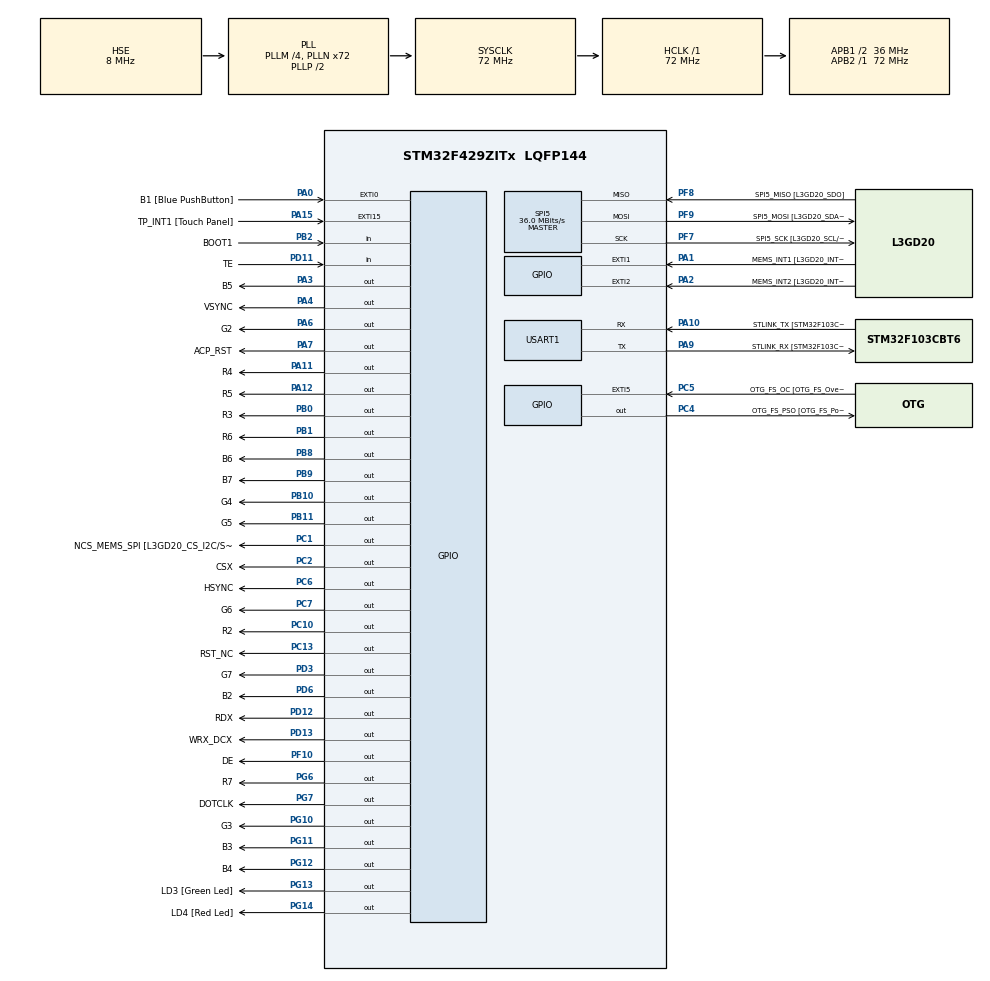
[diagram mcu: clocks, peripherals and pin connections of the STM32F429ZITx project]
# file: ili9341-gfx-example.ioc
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Dma.Request0=SPI5_TX
Dma.SPI5_TX.0.Direction=DMA_MEMORY_TO_PERIPH
Dma.SPI5_TX.0.FIFOMode=DMA_FIFOMODE_DISABLE
Dma.SPI5_TX.0.Instance=DMA2_Stream4
Dma.SPI5_TX.0.MemDataAlignment=DMA_MDATAALIGN_BYTE
Dma.SPI5_TX.0.MemInc=DMA_MINC_ENABLE
Dma.SPI5_TX.0.Mode=DMA_NORMAL
Dma.SPI5_TX.0.PeriphDataAlignment=DMA_PDATAALIGN_BYTE
Dma.SPI5_TX.0.PeriphInc=DMA_PINC_DISABLE
Dma.SPI5_TX.0.Priority=DMA_PRIORITY_LOW
Mcu.Family=STM32F4
Mcu.Name=STM32F429ZITx
Mcu.Package=LQFP144
NVIC.DMA2_Stream4_IRQn=true\:0\:0\:false\:false\:true\:false\:true
NVIC.PriorityGroup=NVIC_PRIORITYGROUP_4
NVIC.TIM6_DAC_IRQn=true\:0\:0\:false\:false\:true\:false\:true
NVIC.TimeBase=TIM6_DAC_IRQn
NVIC.TimeBaseIP=TIM6
PA0/WKUP.GPIO_Label=B1 [Blue PushButton]
PA0/WKUP.GPIO_ModeDefaultEXTI=GPIO_MODE_EVT_RISING
PA0/WKUP.GPIO_PuPd=GPIO_NOPULL
PA0/WKUP.Signal=GPXTI0
PA1.GPIO_Label=MEMS_INT1 [L3GD20_INT1]
PA1.GPIO_ModeDefaultEXTI=GPIO_MODE_EVT_RISING
PA1.GPIO_PuPd=GPIO_NOPULL
PA1.Signal=GPXTI1
PA10.GPIO_Label=STLINK_TX [STM32F103CBT6_PA2]
PA10.Mode=Asynchronous
PA10.Signal=USART1_RX
PA11.GPIO_Label=R4
PA11.GPIO_PuPd=GPIO_PULLDOWN
PA11.Signal=GPIO_Output
PA12.GPIO_Label=R5
PA12.GPIO_PuPd=GPIO_PULLDOWN
PA12.Signal=GPIO_Output
PA13.GPIO_Label=SWDIO
PA13.Mode=Serial_Wire
PA13.Signal=SYS_JTMS-SWDIO
PA14.GPIO_Label=SWCLK
PA14.Mode=Serial_Wire
PA14.Signal=SYS_JTCK-SWCLK
PA15.GPIO_Label=TP_INT1 [Touch Panel]
PA15.GPIO_ModeDefaultEXTI=GPIO_MODE_EVT_RISING
PA15.GPIO_PuPd=GPIO_NOPULL
PA15.Signal=GPXTI15
PA2.GPIO_Label=MEMS_INT2 [L3GD20_INT2]
PA2.GPIO_ModeDefaultEXTI=GPIO_MODE_EVT_RISING
PA2.GPIO_PuPd=GPIO_NOPULL
PA2.Signal=GPXTI2
PA3.GPIO_Label=B5
PA3.GPIO_PuPd=GPIO_PULLDOWN
PA3.Signal=GPIO_Output
PA4.GPIO_Label=VSYNC
PA4.GPIO_PuPd=GPIO_PULLDOWN
PA4.Signal=GPIO_Output
PA6.GPIO_Label=G2
PA6.GPIO_PuPd=GPIO_PULLDOWN
PA6.Signal=GPIO_Output
PA7.GPIO_Label=ACP_RST
PA7.GPIO_Mode=GPIO_MODE_OUTPUT_PP
PA7.GPIO_PuPd=GPIO_NOPULL
PA7.GPIO_Speed=GPIO_SPEED_FREQ_LOW
PA7.Signal=GPIO_Output
PA9.GPIO_Label=STLINK_RX [STM32F103CBT6_PA3]
PA9.Mode=Asynchronous
PA9.Signal=USART1_TX
PB0.GPIO_Label=R3
PB0.GPIO_PuPd=GPIO_PULLDOWN
PB0.Signal=GPIO_Output
PB1.GPIO_Label=R6
PB1.GPIO_PuPd=GPIO_PULLDOWN
PB1.Signal=GPIO_Output
PB10.GPIO_Label=G4
PB10.GPIO_PuPd=GPIO_PULLDOWN
PB10.Signal=GPIO_Output
PB11.GPIO_Label=G5
PB11.GPIO_PuPd=GPIO_PULLDOWN
PB11.Signal=GPIO_Output
PB12.GPIO_Label=OTG_HS_ID
PB12.GPIO_Mode=GPIO_MODE_AF_PP
PB12.GPIO_PuPd=GPIO_NOPULL
PB12.GPIO_Speed=GPIO_SPEED_FREQ_LOW
PB12.Signal=USB_OTG_HS_ID
PB13.GPIO_Label=VBUS_HS
PB13.GPIO_Mode=GPIO_MODE_INPUT
PB13.GPIO_PuPd=GPIO_NOPULL
PB13.Signal=USB_OTG_HS_VBUS
PB14.GPIO_Label=OTG_HS_DM
PB14.GPIO_Mode=GPIO_MODE_AF_PP
PB14.GPIO_PuPd=GPIO_NOPULL
PB14.GPIO_Speed=GPIO_SPEED_FREQ_LOW
PB14.Signal=USB_OTG_HS_DM
PB15.GPIO_Label=OTG_HS_DP
PB15.GPIO_Mode=GPIO_MODE_AF_PP
PB15.GPIO_PuPd=GPIO_NOPULL
PB15.GPIO_Speed=GPIO_SPEED_FREQ_LOW
PB15.Signal=USB_OTG_HS_DP
PB2/BOOT1.GPIO_Label=BOOT1
PB2/BOOT1.GPIO_Mode=GPIO_MODE_INPUT
PB2/BOOT1.GPIO_PuPd=GPIO_NOPULL
PB2/BOOT1.Signal=GPIO_Input
PB8.GPIO_Label=B6
PB8.GPIO_PuPd=GPIO_PULLDOWN
PB8.Signal=GPIO_Output
PB9.GPIO_Label=B7
PB9.GPIO_PuPd=GPIO_PULLDOWN
PB9.Signal=GPIO_Output
PC0.GPIO_Label=SDNWE
PC0.GPIO_Mode=GPIO_MODE_AF_PP
PC0.GPIO_PuPd=GPIO_NOPULL
PC0.GPIO_Speed=GPIO_SPEED_FREQ_VERY_HIGH
PC0.Signal=FMC_SDNWE
PC1.GPIO_Label=NCS_MEMS_SPI [L3GD20_CS_I2C/SPI]
PC1.GPIO_Mode=GPIO_MODE_OUTPUT_PP
PC1.GPIO_PuPd=GPIO_NOPULL
PC1.GPIO_Speed=GPIO_SPEED_FREQ_LOW
PC1.Signal=GPIO_Output
PC10.GPIO_Label=R2
PC10.GPIO_PuPd=GPIO_PULLDOWN
PC10.Signal=GPIO_Output
PC13.GPIO_Label=RST_NC
PC13.GPIO_Speed=GPIO_SPEED_FREQ_LOW
PC13.Signal=GPIO_Output
PC14/OSC32_IN.GPIO_Label=PC14-OSC32_IN
PC14/OSC32_IN.Signal=RCC_OSC32_IN
PC15/OSC32_OUT.GPIO_Label=PC15-OSC32_OUT
PC15/OSC32_OUT.Signal=RCC_OSC32_OUT
PC2.GPIO_Label=CSX
PC2.GPIO_Mode=GPIO_MODE_OUTPUT_PP
PC2.GPIO_PuPd=GPIO_NOPULL
PC2.GPIO_Speed=GPIO_SPEED_FREQ_HIGH
PC2.Signal=GPIO_Output
PC4.GPIO_Label=OTG_FS_PSO [OTG_FS_PowerSwitchOn]
PC4.GPIO_Mode=GPIO_MODE_OUTPUT_PP
PC4.GPIO_PuPd=GPIO_NOPULL
PC4.GPIO_Speed=GPIO_SPEED_FREQ_LOW
PC4.Signal=GPIO_Output
PC5.GPIO_Label=OTG_FS_OC [OTG_FS_OverCurrent]
PC5.GPIO_ModeDefaultEXTI=GPIO_MODE_EVT_RISING
PC5.Signal=GPXTI5
PC6.GPIO_Label=HSYNC
PC6.GPIO_PuPd=GPIO_PULLDOWN
PC6.Signal=GPIO_Output
PC7.GPIO_Label=G6
PC7.GPIO_PuPd=GPIO_PULLDOWN
PC7.Signal=GPIO_Output
PD10.GPIO_Label=D15
PD10.GPIO_Mode=GPIO_MODE_AF_PP
PD10.GPIO_PuPd=GPIO_NOPULL
PD10.GPIO_Speed=GPIO_SPEED_FREQ_VERY_HIGH
PD10.Signal=FMC_D15_DA15
PD11.GPIO_Label=TE
PD11.Signal=GPIO_Input
PD12.GPIO_Label=RDX
PD12.GPIO_PuPd=GPIO_PULLUP
PD12.PinState=GPIO_PIN_SET
PD12.Signal=GPIO_Output
PD13.GPIO_Label=WRX_DCX
PD13.GPIO_Mode=GPIO_MODE_OUTPUT_PP
PD13.GPIO_PuPd=GPIO_NOPULL
PD13.GPIO_Speed=GPIO_SPEED_FREQ_HIGH
PD13.Signal=GPIO_Output
PD3.GPIO_Label=G7
PD3.GPIO_PuPd=GPIO_PULLDOWN
PD3.Signal=GPIO_Output
PD6.GPIO_Label=B2
PD6.GPIO_PuPd=GPIO_PULLDOWN
PD6.Signal=GPIO_Output
PD8.GPIO_Label=D13
PD8.GPIO_Mode=GPIO_MODE_AF_PP
PD8.GPIO_PuPd=GPIO_NOPULL
PD8.GPIO_Speed=GPIO_SPEED_FREQ_VERY_HIGH
PD8.Signal=FMC_D13_DA13
PD9.GPIO_Label=D14
PD9.GPIO_Mode=GPIO_MODE_AF_PP
PD9.GPIO_PuPd=GPIO_NOPULL
PD9.GPIO_Speed=GPIO_SPEED_FREQ_VERY_HIGH
PD9.Signal=FMC_D14_DA14
PE10.GPIO_Label=D7
PE10.GPIO_Mode=GPIO_MODE_AF_PP
PE10.GPIO_PuPd=GPIO_NOPULL
PE10.GPIO_Speed=GPIO_SPEED_FREQ_VERY_HIGH
PE10.Signal=FMC_D7_DA7
PE11.GPIO_Label=D8
PE11.GPIO_Mode=GPIO_MODE_AF_PP
PE11.GPIO_PuPd=GPIO_NOPULL
PE11.GPIO_Speed=GPIO_SPEED_FREQ_VERY_HIGH
PE11.Signal=FMC_D8_DA8
PE12.GPIO_Label=D9
PE12.GPIO_Mode=GPIO_MODE_AF_PP
PE12.GPIO_PuPd=GPIO_NOPULL
PE12.GPIO_Speed=GPIO_SPEED_FREQ_VERY_HIGH
PE12.Signal=FMC_D9_DA9
PE13.GPIO_Label=D10
PE13.GPIO_Mode=GPIO_MODE_AF_PP
PE13.GPIO_PuPd=GPIO_NOPULL
PE13.GPIO_Speed=GPIO_SPEED_FREQ_VERY_HIGH
PE13.Signal=FMC_D10_DA10
PE14.GPIO_Label=D11
PE14.GPIO_Mode=GPIO_MODE_AF_PP
PE14.GPIO_PuPd=GPIO_NOPULL
PE14.GPIO_Speed=GPIO_SPEED_FREQ_VERY_HIGH
PE14.Signal=FMC_D11_DA11
PE15.GPIO_Label=D12
PE15.GPIO_Mode=GPIO_MODE_AF_PP
PE15.GPIO_PuPd=GPIO_NOPULL
PE15.GPIO_Speed=GPIO_SPEED_FREQ_VERY_HIGH
PE15.Signal=FMC_D12_DA12
PE7.GPIO_Label=D4
PE7.GPIO_Mode=GPIO_MODE_AF_PP
PE7.GPIO_PuPd=GPIO_NOPULL
PE7.GPIO_Speed=GPIO_SPEED_FREQ_VERY_HIGH
PE7.Signal=FMC_D4_DA4
PE8.GPIO_Label=D5
PE8.GPIO_Mode=GPIO_MODE_AF_PP
PE8.GPIO_PuPd=GPIO_NOPULL
PE8.GPIO_Speed=GPIO_SPEED_FREQ_VERY_HIGH
PE8.Signal=FMC_D5_DA5
PE9.GPIO_Label=D6
PE9.GPIO_Mode=GPIO_MODE_AF_PP
PE9.GPIO_PuPd=GPIO_NOPULL
PE9.GPIO_Speed=GPIO_SPEED_FREQ_VERY_HIGH
PE9.Signal=FMC_D6_DA6
PF10.GPIO_Label=DE
PF10.GPIO_PuPd=GPIO_PULLDOWN
PF10.Signal=GPIO_Output
PF11.GPIO_Label=SDNRAS
PF11.GPIO_Mode=GPIO_MODE_AF_PP
PF11.GPIO_PuPd=GPIO_NOPULL
PF11.GPIO_Speed=GPIO_SPEED_FREQ_VERY_HIGH
PF11.Signal=FMC_SDNRAS
PF12.GPIO_Label=A6
PF12.GPIO_Mode=GPIO_MODE_AF_PP
PF12.GPIO_PuPd=GPIO_NOPULL
PF12.GPIO_Speed=GPIO_SPEED_FREQ_VERY_HIGH
PF12.Signal=FMC_A6
PF13.GPIO_Label=A7
PF13.GPIO_Mode=GPIO_MODE_AF_PP
PF13.GPIO_PuPd=GPIO_NOPULL
PF13.GPIO_Speed=GPIO_SPEED_FREQ_VERY_HIGH
PF13.Signal=FMC_A7
PF14.GPIO_Label=A8
PF14.GPIO_Mode=GPIO_MODE_AF_PP
PF14.GPIO_PuPd=GPIO_NOPULL
PF14.GPIO_Speed=GPIO_SPEED_FREQ_VERY_HIGH
PF14.Signal=FMC_A8
PF15.GPIO_Label=A9
PF15.GPIO_Mode=GPIO_MODE_AF_PP
PF15.GPIO_PuPd=GPIO_NOPULL
PF15.GPIO_Speed=GPIO_SPEED_FREQ_VERY_HIGH
PF15.Signal=FMC_A9
PF7.GPIO_Label=SPI5_SCK [L3GD20_SCL/SPC]
PF7.GPIO_Mode=GPIO_MODE_AF_PP
PF7.GPIO_PuPd=GPIO_NOPULL
PF7.GPIO_Speed=GPIO_SPEED_FREQ_VERY_HIGH
PF7.Mode=Full_Duplex_Master
PF7.Signal=SPI5_SCK
PF8.GPIO_Label=SPI5_MISO [L3GD20_SDO]
PF8.GPIO_Mode=GPIO_MODE_AF_PP
PF8.GPIO_PuPd=GPIO_NOPULL
PF8.GPIO_Speed=GPIO_SPEED_FREQ_VERY_HIGH
PF8.Mode=Full_Duplex_Master
PF8.Signal=SPI5_MISO
PF9.GPIO_Label=SPI5_MOSI [L3GD20_SDA/SDI/SDO]
PF9.GPIO_Mode=GPIO_MODE_AF_PP
PF9.GPIO_PuPd=GPIO_NOPULL
PF9.GPIO_Speed=GPIO_SPEED_FREQ_VERY_HIGH
PF9.Mode=Full_Duplex_Master
PF9.Signal=SPI5_MOSI
PG0.GPIO_Label=A10
PG0.GPIO_Mode=GPIO_MODE_AF_PP
PG0.GPIO_PuPd=GPIO_NOPULL
PG0.GPIO_Speed=GPIO_SPEED_FREQ_VERY_HIGH
PG0.Signal=FMC_A10
PG1.GPIO_Label=A11
PG1.GPIO_Mode=GPIO_MODE_AF_PP
PG1.GPIO_PuPd=GPIO_NOPULL
PG1.GPIO_Speed=GPIO_SPEED_FREQ_VERY_HIGH
PG1.Signal=FMC_A11
PG10.GPIO_Label=G3
PG10.GPIO_PuPd=GPIO_PULLDOWN
PG10.Signal=GPIO_Output
PG11.GPIO_Label=B3
PG11.GPIO_PuPd=GPIO_PULLDOWN
PG11.Signal=GPIO_Output
PG12.GPIO_Label=B4
PG12.GPIO_PuPd=GPIO_PULLDOWN
PG12.Signal=GPIO_Output
PG13.GPIO_Label=LD3 [Green Led]
PG13.GPIO_Mode=GPIO_MODE_OUTPUT_PP
PG13.GPIO_PuPd=GPIO_NOPULL
PG13.GPIO_Speed=GPIO_SPEED_FREQ_LOW
PG13.Signal=GPIO_Output
PG14.GPIO_Label=LD4 [Red Led]
PG14.GPIO_Mode=GPIO_MODE_OUTPUT_PP
PG14.GPIO_PuPd=GPIO_NOPULL
PG14.GPIO_Speed=GPIO_SPEED_FREQ_LOW
PG14.Signal=GPIO_Output
PG6.GPIO_Label=R7
PG6.GPIO_PuPd=GPIO_PULLDOWN
PG6.Signal=GPIO_Output
PG7.GPIO_Label=DOTCLK
PG7.GPIO_PuPd=GPIO_PULLDOWN
PG7.Signal=GPIO_Output
PH0/OSC_IN.GPIO_Label=PH0-OSC_IN
PH0/OSC_IN.Mode=HSE-External-Oscillator
PH0/OSC_IN.Signal=RCC_OSC_IN
PH1/OSC_OUT.GPIO_Label=PH1-OSC_OUT
PH1/OSC_OUT.Mode=HSE-External-Oscillator
PH1/OSC_OUT.Signal=RCC_OSC_OUT
ProjectManager.HeapSize=0x200
ProjectManager.StackSize=0x400
ProjectManager.TargetToolchain=STM32CubeIDE
RCC.48MHZClocksFreq_Value=48000000
RCC.AHBFreq_Value=72000000
RCC.APB1CLKDivider=RCC_HCLK_DIV2
RCC.APB1Freq_Value=36000000
RCC.APB1TimFreq_Value=72000000
RCC.APB2Freq_Value=72000000
RCC.APB2TimFreq_Value=72000000
RCC.CortexFreq_Value=72000000
RCC.HCLKFreq_Value=72000000
RCC.HSE_VALUE=8000000
RCC.HSI_VALUE=16000000
RCC.LSE_VALUE=32768
RCC.PLLM=4
RCC.PLLN=72
RCC.PLLQ=3
RCC.PLLSAIN=50
RCC.PLLSourceVirtual=RCC_PLLSOURCE_HSE
RCC.SYSCLKFreq_VALUE=72000000
RCC.SYSCLKSource=RCC_SYSCLKSOURCE_PLLCLK
RCC.VCOOutputFreq_Value=144000000
SH.FMC_A10.0=FMC_A10
SH.FMC_A11.0=FMC_A11
SH.FMC_A6.0=FMC_A6
SH.FMC_A7.0=FMC_A7
SH.FMC_A8.0=FMC_A8
SH.FMC_A9.0=FMC_A9
SH.FMC_D10_DA10.0=FMC_D10
SH.FMC_D11_DA11.0=FMC_D11
SH.FMC_D12_DA12.0=FMC_D12
SH.FMC_D13_DA13.0=FMC_D13
SH.FMC_D14_DA14.0=FMC_D14
SH.FMC_D15_DA15.0=FMC_D15
SH.FMC_D4_DA4.0=FMC_D4
SH.FMC_D5_DA5.0=FMC_D5
SH.FMC_D6_DA6.0=FMC_D6
SH.FMC_D7_DA7.0=FMC_D7
SH.FMC_D8_DA8.0=FMC_D8
SH.FMC_D9_DA9.0=FMC_D9
SH.FMC_SDNRAS.0=FMC_SDNRAS
SH.FMC_SDNWE.0=FMC_SDNWE
SPI5.CalculateBaudRate=36.0 MBits/s
SPI5.Direction=SPI_DIRECTION_2LINES
SPI5.Mode=SPI_MODE_MASTER
SPI5.VirtualType=VM_MASTER
USART1.VirtualMode=VM_ASYNC
VP_CRC_VS_CRC.Mode=CRC_Activate
VP_SYS_VS_tim6.Mode=TIM6
VP_TIM1_VS_ClockSourceINT.Mode=Internal
board=STM32F429I-DISC1

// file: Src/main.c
/* USER CODE BEGIN Header */
/**
  ******************************************************************************
  * @file           : main.c
  * @brief          : Main program body
  ******************************************************************************
  * @attention
  *
  * <h2><center>&copy; Copyright (c) 2020 STMicroelectronics.
  * All rights reserved.</center></h2>
  *
  * This software component is licensed by ST under BSD 3-Clause license,
  * the "License"; You may not use this file except in compliance with the
  * License. You may obtain a copy of the License at:
  *                        opensource.org/licenses/BSD-3-Clause
  *
  ******************************************************************************
  */
/* USER CODE END Header */

#include "main.h"
#include "crc.h"
#include "dma.h"
#include "spi.h"
#include "tim.h"
#include "usart.h"
#include "gpio.h"

/* USER CODE BEGIN Includes */
#include "ili_drv.h"
#include "ili9341-gfx.h"
#include "stars_mono.h"
#include "chess_mono.h"
#include "font_Arial_12_Bold.h"
#include "font_Arial_24_Bold.h"
#include "font_Arial_36_Bold.h"

/* USER CODE END Includes */

void SystemClock_Config(void);
/* USER CODE BEGIN PFP */

/* Wrapper functions required by ILI9341 driver */
void gpio_cs_pin (ili9341_gpio_pin_value_t value);
void gpio_dc_pin (ili9341_gpio_pin_value_t value);
void gpio_rst_pin (ili9341_gpio_pin_value_t value);
bool spi_tx_dma_ready (void);
int spi_tx_dma_b (const uint8_t* data, uint32_t len);

void test_h_line(const ili9341_desc_ptr_t desc, ili_sgfx_brush_t brush, ili9341_orientation_t orientation);
void draw_h_stripes(const ili9341_desc_ptr_t desc, ili_sgfx_brush_t brush, uint8_t cnt);
void test_v_line(const ili9341_desc_ptr_t desc, ili_sgfx_brush_t brush, ili9341_orientation_t orientation);
void draw_v_stripes(const ili9341_desc_ptr_t desc, ili_sgfx_brush_t brush, uint8_t cnt);
void test_rect(const ili9341_desc_ptr_t desc, ili_sgfx_brush_t brush, ili9341_orientation_t orientation);
void test_filled_rect(const ili9341_desc_ptr_t desc, ili_sgfx_brush_t brush, ili9341_orientation_t orientation);
void test_pixel(const ili9341_desc_ptr_t desc, ili_sgfx_brush_t brush, ili9341_orientation_t orientation);
void test_line(const ili9341_desc_ptr_t desc, ili_sgfx_brush_t brush, uint16_t num_lines, ili9341_orientation_t orientation);
void test_pixmap(const ili9341_desc_ptr_t desc, ili_sgfx_brush_t brush, ili9341_orientation_t orientation);
void test_printf(const ili9341_desc_ptr_t desc, ili_sgfx_brush_t brush, ili9341_orientation_t orientation);
void test_printf_region(const ili9341_desc_ptr_t desc, ili_sgfx_brush_t brush, ili9341_orientation_t orientation);

/* USER CODE END PFP */

int main(void)
{
  /* USER CODE BEGIN 1 */
	  ili9341_desc_ptr_t display;
	  const ili9341_cfg_t display_cfg = {
			  .cs_pin = gpio_cs_pin,
			  .dc_pin = gpio_dc_pin,
			  .rst_pin = gpio_rst_pin,
			  .spi_tx_dma = spi_tx_dma_b,
			  .spi_tx_ready = spi_tx_dma_ready,
			  .orientation = ILI9341_ORIENTATION_HORIZONTAL,
			  .width = 320,
			  .height = 240,
			  .timeout_ms = 10000,
			  .wup_delay_ms = 20,
			  .restart_delay_ms = 20
	  };

	  const ili9341_hw_cfg_t hw_cfg = ili9341_get_default_hw_cfg();
  /* USER CODE END 1 */

  /* MCU Configuration--------------------------------------------------------*/

  /* Reset of all peripherals, Initializes the Flash interface and the Systick. */
  HAL_Init();

  /* Configure the system clock */
  SystemClock_Config();

  /* Initialize all configured peripherals */
  MX_GPIO_Init();
  MX_DMA_Init();
  MX_CRC_Init();
  MX_SPI5_Init();
  MX_TIM1_Init();
  MX_USART1_UART_Init();
  /* USER CODE BEGIN 2 */
  display = ili9341_init(&display_cfg, &hw_cfg);
  if (display == NULL) {
	Error_Handler();
  }

  /* USER CODE END 2 */

  /* Infinite loop */
  /* USER CODE BEGIN WHILE */
  while (1)
  {
	  ili_sgfx_brush_t brush = {
		.bg_color = BLACK,
		.fg_color = GREEN,
		.size = 1
	  };

	  test_h_line(display, brush, ILI9341_ORIENTATION_HORIZONTAL_UD);
	  test_h_line(display, brush, ILI9341_ORIENTATION_VERTICAL);

	  test_v_line(display, brush, ILI9341_ORIENTATION_HORIZONTAL_UD);
	  test_v_line(display, brush, ILI9341_ORIENTATION_VERTICAL);

	  test_rect(display, brush, ILI9341_ORIENTATION_HORIZONTAL_UD);
	  test_rect(display, brush, ILI9341_ORIENTATION_VERTICAL);
	  test_filled_rect(display, brush, ILI9341_ORIENTATION_HORIZONTAL_UD);
	  test_filled_rect(display, brush, ILI9341_ORIENTATION_VERTICAL);

	  test_pixel(display, brush, ILI9341_ORIENTATION_HORIZONTAL_UD);

	  test_line(display, brush, 40, ILI9341_ORIENTATION_HORIZONTAL_UD);

	  brush.transparent = false;
	  test_pixmap(display, brush, ILI9341_ORIENTATION_HORIZONTAL_UD);
	  brush.transparent = true;
	  test_pixmap(display, brush, ILI9341_ORIENTATION_HORIZONTAL_UD);
	  brush.transparent = false;

	  ili_sgfx_clear_screen(display, &brush);
	  brush.font = &font_Arial_12_Bold;
	  brush.transparent = false;
	  test_printf(display, brush, ILI9341_ORIENTATION_HORIZONTAL_UD);
	  HAL_Delay(2000);
	  ili_sgfx_clear_screen(display, &brush);
	  brush.font = &font_Arial_24_Bold;
	  brush.transparent = false;
	  test_printf(display, brush, ILI9341_ORIENTATION_HORIZONTAL_UD);
	  HAL_Delay(2000);
	  ili_sgfx_clear_screen(display, &brush);
	  brush.font = &font_Arial_36_Bold;
	  brush.transparent = false;
	  test_printf(display, brush, ILI9341_ORIENTATION_HORIZONTAL_UD);
	  HAL_Delay(2000);

	  ili_sgfx_clear_screen(display, &brush);
	  brush.font = &font_Arial_12_Bold;
	  brush.transparent = false;
	  test_printf_region(display, brush, ILI9341_ORIENTATION_HORIZONTAL_UD);
	  HAL_Delay(2000);
	  ili_sgfx_clear_screen(display, &brush);
	  brush.font = &font_Arial_24_Bold;
	  brush.transparent = false;
	  test_printf_region(display, brush, ILI9341_ORIENTATION_HORIZONTAL_UD);
	  HAL_Delay(2000);
	  ili_sgfx_clear_screen(display, &brush);
	  brush.font = &font_Arial_36_Bold;
	  brush.transparent = false;
	  test_printf_region(display, brush, ILI9341_ORIENTATION_HORIZONTAL_UD);
	  HAL_Delay(2000);

	  /* USER CODE END WHILE */

  }
}

void SystemClock_Config(void)
{
  RCC_OscInitTypeDef RCC_OscInitStruct = {0};
  RCC_ClkInitTypeDef RCC_ClkInitStruct = {0};

  /** Configure the main internal regulator output voltage
  */
  __HAL_RCC_PWR_CLK_ENABLE();
  __HAL_PWR_VOLTAGESCALING_CONFIG(PWR_REGULATOR_VOLTAGE_SCALE3);
  /** Initializes the CPU, AHB and APB busses clocks
  */
  RCC_OscInitStruct.OscillatorType = RCC_OSCILLATORTYPE_HSE;
  RCC_OscInitStruct.HSEState = RCC_HSE_ON;
  RCC_OscInitStruct.PLL.PLLState = RCC_PLL_ON;
  RCC_OscInitStruct.PLL.PLLSource = RCC_PLLSOURCE_HSE;
  RCC_OscInitStruct.PLL.PLLM = 4;
  RCC_OscInitStruct.PLL.PLLN = 72;
  RCC_OscInitStruct.PLL.PLLP = RCC_PLLP_DIV2;
  RCC_OscInitStruct.PLL.PLLQ = 3;
  if (HAL_RCC_OscConfig(&RCC_OscInitStruct) != HAL_OK)
  {
    Error_Handler();
  }
  /** Initializes the CPU, AHB and APB busses clocks
  */
  RCC_ClkInitStruct.ClockType = RCC_CLOCKTYPE_HCLK|RCC_CLOCKTYPE_SYSCLK
                              |RCC_CLOCKTYPE_PCLK1|RCC_CLOCKTYPE_PCLK2;
  RCC_ClkInitStruct.SYSCLKSource = RCC_SYSCLKSOURCE_PLLCLK;
  RCC_ClkInitStruct.AHBCLKDivider = RCC_SYSCLK_DIV1;
  RCC_ClkInitStruct.APB1CLKDivider = RCC_HCLK_DIV2;
  RCC_ClkInitStruct.APB2CLKDivider = RCC_HCLK_DIV1;

  if (HAL_RCC_ClockConfig(&RCC_ClkInitStruct, FLASH_LATENCY_2) != HAL_OK)
  {
    Error_Handler();
  }
}

/* USER CODE BEGIN 4 */
void gpio_cs_pin (ili9341_gpio_pin_value_t value)
{
	HAL_GPIO_WritePin(CSX_GPIO_Port, CSX_Pin, value);
}

void gpio_dc_pin (ili9341_gpio_pin_value_t value)
{
	HAL_GPIO_WritePin(WRX_DCX_GPIO_Port, WRX_DCX_Pin, value);

}

void gpio_rst_pin (ili9341_gpio_pin_value_t value)
{
	HAL_GPIO_WritePin(RST_NC_GPIO_Port, RST_NC_Pin, value);
}

bool spi_tx_dma_ready (void)
{
	return HAL_SPI_GetState(&hspi5) == HAL_SPI_STATE_READY;
}

int spi_tx_dma_b (const uint8_t* data, uint32_t len)
{
	/* STM HAL lhas limited data length to 16b */
	int segments = len/65536;
	int rest = len%65536;
	int i;

	for (i = 0; i < segments; i++) {
		HAL_SPI_Transmit_DMA(&hspi5, (unsigned char*)(data+i*65535), 65535);
		while(HAL_SPI_GetState(&hspi5) == HAL_SPI_STATE_BUSY_TX) ;
	}

	HAL_SPI_Transmit_DMA(&hspi5, (unsigned char*)(data+i*65535), rest);

	return 0;
}

void test_h_line(const ili9341_desc_ptr_t desc, ili_sgfx_brush_t brush, ili9341_orientation_t orientation) {
	const uint8_t NUM_CLRS = 3;
	uint16_t colors[] = {RED, GREEN, BLUE};

	ili9341_set_orientation(desc, orientation);
	for (int i = 0; i < NUM_CLRS; i++) {
		brush.fg_color = colors[i];
		ili_sgfx_clear_screen(desc, &brush);
		draw_h_stripes(desc, brush, 18);
		HAL_Delay(2000);
	}
}

void draw_h_stripes(const ili9341_desc_ptr_t desc, ili_sgfx_brush_t brush, uint8_t cnt) {
	coord_2d_t pos = {
		.x = 1,
		.y = 1
	};
	int16_t length = ili9341_get_screen_width(desc);
	for (int i = 0; i < cnt; i++) {
		ili_sgfx_draw_h_line(desc, &brush, pos, length);
		brush.size++;
		pos.y += brush.size*2 + 1;
	}
}

void test_v_line(const ili9341_desc_ptr_t desc, ili_sgfx_brush_t brush, ili9341_orientation_t orientation) {
	const uint8_t NUM_CLRS = 3;
	uint16_t colors[] = {RED, GREEN, BLUE};

	ili9341_set_orientation(desc, orientation);
	for (int i = 0; i < NUM_CLRS; i++) {
		brush.fg_color = colors[i];
		ili_sgfx_clear_screen(desc, &brush);
		draw_v_stripes(desc, brush, 18);
		HAL_Delay(2000);
	}
}

void draw_v_stripes(const ili9341_desc_ptr_t desc, ili_sgfx_brush_t brush, uint8_t cnt) {
	coord_2d_t pos = {
		.x = 1,
		.y = 1
	};
	int16_t length = ili9341_get_screen_height(desc);
	for (int i = 0; i < cnt; i++) {
		ili_sgfx_draw_v_line(desc, &brush, pos, length);
		brush.size++;
		pos.x += brush.size*2 + 1;
	}
}

void test_rect(const ili9341_desc_ptr_t desc, ili_sgfx_brush_t brush, ili9341_orientation_t orientation) {
	ili9341_set_orientation(desc, orientation);
	ili_sgfx_clear_screen(desc, &brush);
	ili_sgfx_rect_t rect = {
			.top_left = {
					.x = ili9341_get_screen_width(desc)/2 - 10,
					.y = ili9341_get_screen_height(desc)/2 - 10
			},
			.bottom_right = {
					.x = ili9341_get_screen_width(desc)/2 + 10,
					.y = ili9341_get_screen_height(desc)/2 + 10
			}
	};

	for (int i = 0; i < 9; i++) {
		ili_sgfx_draw_rect(desc, &brush, rect);
		brush.size++;
		rect.top_left.x -= brush.size*2 + 1;
		rect.top_left.y -= brush.size*2 + 1;
		rect.bottom_right.x += brush.size*2 + 1;
		rect.bottom_right.y += brush.size*2 + 1;
		HAL_Delay(500);
	}
}

void test_filled_rect(const ili9341_desc_ptr_t desc, ili_sgfx_brush_t brush, ili9341_orientation_t orientation) {
	ili9341_set_orientation(desc, orientation);
	ili_sgfx_clear_screen(desc, &brush);
	ili_sgfx_rect_t rect = {
				.top_left = {
						.x = ili9341_get_screen_width(desc)/2 - 10,
						.y = ili9341_get_screen_height(desc)/2 - 10
				},
				.bottom_right = {
						.x = ili9341_get_screen_width(desc)/2 + 10,
						.y = ili9341_get_screen_height(desc)/2 + 10
				}
	};
	brush.bg_color = BLUE;
	brush.fg_color = RED;

	for (int i = 0; i < 9; i++) {
		ili_sgfx_draw_filled_rect(desc, &brush, rect);
		brush.size++;
		rect.top_left.x -= brush.size*2 + 1;
		rect.top_left.y -= brush.size*2 + 1;
		rect.bottom_right.x += brush.size*2 + 1;
		rect.bottom_right.y += brush.size*2 + 1;
		HAL_Delay(1000);
	}
}

void test_pixel(const ili9341_desc_ptr_t desc, ili_sgfx_brush_t brush, ili9341_orientation_t orientation) {
	ili9341_set_orientation(desc, orientation);
	ili_sgfx_clear_screen(desc, &brush);

	coord_2d_t start = {
			.x = 1,
			.y = 1
	};
	coord_2d_t end = {
			.x = ili9341_get_screen_width(desc),
			.y = ili9341_get_screen_height(desc)
	};
	coord_2d_t coord = start;

	uint16_t dx = end.x - start.x;
	uint16_t dy = end.y - start.y;
	for (coord.x = start.x; coord.x < end.x; coord.x++) {
		coord.y = start.y + dy*(coord.x - start.x) / dx;
		ili_sgfx_draw_pixel(desc, &brush, coord);
	}
	HAL_Delay(2000);
}

void test_line(const ili9341_desc_ptr_t desc, ili_sgfx_brush_t brush, uint16_t num_lines, ili9341_orientation_t orientation) {
	ili9341_set_orientation(desc, orientation);
	ili_sgfx_clear_screen(desc, &brush);

	coord_2d_t start = {
			.x = 1,
			.y = 1
	};
	coord_2d_t end = {
				.x = ili9341_get_screen_width(desc),
				.y = 1
		};
	uint8_t x_step = ili9341_get_screen_width(desc)/num_lines;
	uint8_t y_step = ili9341_get_screen_height(desc)/num_lines;

	for (int i = 0; i < num_lines; i++) {
		ili_sgfx_draw_line(desc, &brush, start, end);
		end.x -= x_step;
		end.y += y_step;
	}

	brush.fg_color = BLUE;
	start.x = ili9341_get_screen_width(desc);
	start.y = ili9341_get_screen_height(desc);
	end.x = 1;
	end.y = ili9341_get_screen_height(desc);
	for (int i = 0; i < num_lines; i++) {
		ili_sgfx_draw_line(desc, &brush, start, end);
		end.x += x_step;
		end.y -= y_step;
	}

}

void test_pixmap(const ili9341_desc_ptr_t desc, ili_sgfx_brush_t brush, ili9341_orientation_t orientation) {
	ili9341_set_orientation(desc, orientation);

	ili_sgfx_brush_t base_bg = {
			.bg_color = BLUE,
			.fg_color = WHITE,
			.size = 1
	};

	ili_sgfx_clear_screen(desc, &base_bg);
	{
		coord_2d_t coord = {.x = 0, .y = 0};
		ili_sgfx_pixmap_t bmp = {
				.width = CHESS_MONO_WIDTH,
				.height = CHESS_MONO_HEIGHT,
				.data = chess_mono_bits,
				.inverted = true
		};

		ili_sgfx_draw_pixmap(desc, &brush, coord, &bmp);
	}

	HAL_Delay(2000);
	ili_sgfx_clear_screen(desc, &base_bg);
	{
		coord_2d_t coord = {.x = 0, .y = 0};
		ili_sgfx_pixmap_t bmp = {
				.width = STARS_MONO_WIDTH,
				.height = STARS_MONO_HEIGHT,
				.data = stars_mono_bits,
				.inverted = true
		};

		ili_sgfx_draw_pixmap(desc, &brush, coord, &bmp);
	}
	HAL_Delay(2000);
}

void test_printf(const ili9341_desc_ptr_t desc, ili_sgfx_brush_t brush, ili9341_orientation_t orientation) {
	ili9341_set_orientation(desc, orientation);
	coord_2d_t coord = {.x = 0, .y = 0};
	brush.v_alignment = H_LEFT;
	brush.h_alignment = V_TOP;
	ili_sgfx_printf(desc, &brush, &coord, L" !\"#$%&'()*+,-./0123456789:;<=>?@ABCDEFGHIJKLMNOPQRSTUVWXYZ[\\]^_`abcdefghijklmnopqrstuvwxyz{|}~ÄÖÜßäöü\n");
}

void test_printf_region(const ili_desc_ptr_t desc, ili_sgfx_brush_t brush, ili_orientation_t orientation) {
	ili_set_orientation(desc, orientation);
#define NUM_AREAS 3
#define NUM_TESTS 6
#define DELAY_MS 1000
	ili_sgfx_rect_t test_area[NUM_AREAS] =  {
		{
			.top_left = {
					.x = 0, .y = 0
			},
			.bottom_right = {
					.x = ili9341_get_screen_width(desc)/2, .y = ili9341_get_screen_height(desc)/2
			}
		},
		{
			.top_left = {
					.x = ili_get_screen_width(desc)/2 - ili_get_screen_width(desc)/4, .y = ili_get_screen_height(desc)/2 - ili_get_screen_height(desc)/4
			},
			.bottom_right = {
					.x = ili_get_screen_width(desc)/2 + ili_get_screen_width(desc)/4, .y = ili_get_screen_height(desc)/2 + ili_get_screen_height(desc)/4
			}
		},
		{
			.top_left = {
					.x = ili_get_screen_width(desc)/2, .y = ili_get_screen_height(desc)/2
			},
			.bottom_right = {
					.x = ili_get_screen_width(desc), .y = ili_get_screen_height(desc)
			}
		},
	};
	ili_sgfx_brush_t test_brush[NUM_TESTS];
	const wchar_t* test_string[NUM_TESTS] = {
		L"TOP_LEFT",
		L"MID_CENTER",
		L"BOT_RIGHT",
		L"Very looooooooooong text aligned to TOP_LEFT",
		L"Very looooooooooong text aligned to MID_CENTER",
		L"Very looooooooooong text aligned to BOT_RIGHT"
	};
	test_brush[0] = brush;
	test_brush[0].h_alignment = H_LEFT;
	test_brush[0].v_alignment = V_TOP;
	test_brush[1] = brush;
	test_brush[1].h_alignment = H_CENTER;
	test_brush[1].v_alignment = V_MIDDLE;
	test_brush[2] = brush;
	test_brush[2].h_alignment = H_RIGHT;
	test_brush[2].v_alignment = V_BOTTOM;
	test_brush[3] = brush;
	test_brush[3].h_alignment = H_LEFT;
	test_brush[3].v_alignment = V_TOP;
	test_brush[4] = brush;
	test_brush[4].h_alignment = H_CENTER;
	test_brush[4].v_alignment = V_MIDDLE;
	test_brush[5] = brush;
	test_brush[5].h_alignment = H_RIGHT;
	test_brush[5].v_alignment = V_BOTTOM;

	ili_sgfx_brush_t clr_brush;
	clr_brush.bg_color = DARKGREY;
	for (int area = 0; area < NUM_AREAS; area++) {
		ili_sgfx_clear_screen(desc, &brush);
		for (int test = 0; test < NUM_TESTS; test++) {
			ili_sgfx_clear_region(desc, test_area[area], &clr_brush);
			ili_sgfx_printf_reg(desc, &test_brush[test], test_area[area], test_string[test]);
			HAL_Delay(DELAY_MS);
		}
	}
#undef NUM_AREAS
#undef DELAY_MS
#undef NUM_TESTS
}

/* USER CODE END 4 */

 /**
  * @brief  Period elapsed callback in non blocking mode
  * @note   This function is called  when TIM6 interrupt took place, inside
  * HAL_TIM_IRQHandler(). It makes a direct call to HAL_IncTick() to increment
  * a global variable "uwTick" used as application time base.
  * @param  htim : TIM handle
  * @retval None
  */
void HAL_TIM_PeriodElapsedCallback(TIM_HandleTypeDef *htim)
{
  if (htim->Instance == TIM6) {
    HAL_IncTick();
  }
  /* USER CODE BEGIN Callback 1 */
  /* Update Display driver timers. */
  ili9341_1ms_timer_cb();
  /* USER CODE END Callback 1 */
}

void Error_Handler(void)
{
}

/************************ (C) COPYRIGHT STMicroelectronics *****END OF FILE****/
